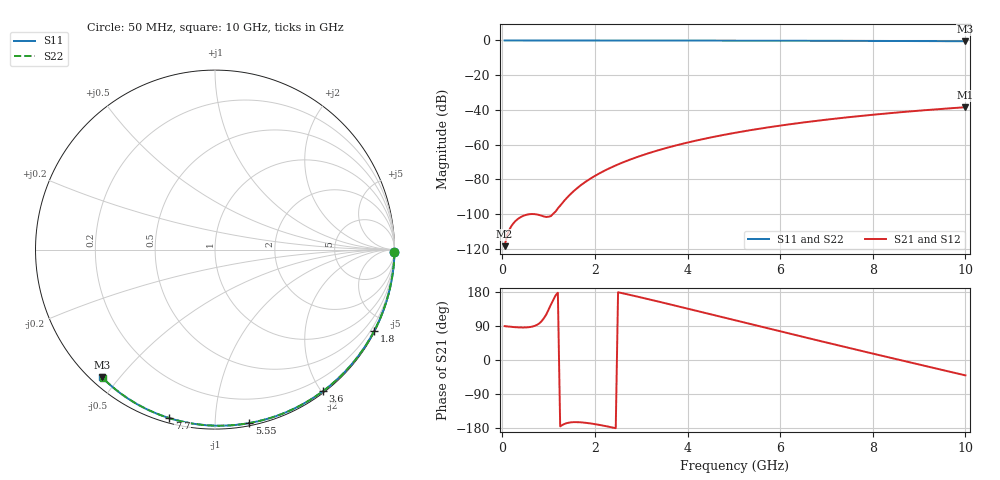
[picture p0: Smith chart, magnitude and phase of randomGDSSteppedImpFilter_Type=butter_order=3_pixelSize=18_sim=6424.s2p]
! freq	dB(S11)	phase(S11)	dB(S12)	phase(S12)
!  dB(S21)	phase(S21)	dB(S22)	phase(S22)
!S-par simulation data
#  GHz  S  DB  R 50
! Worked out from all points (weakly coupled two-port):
!   200 points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, 50 MHz to 10 GHz, reference 50 ohm
!   highest |S21| = -38.48 dB at 10 GHz (marker M1); lowest = -118.6 dB at 50 MHz (marker M2)
!   lowest |S11| = -0.4 dB at 10 GHz (marker M3), VSWR 39.01, Z = 1.54 - j22.5 ohm
!   |S11| at or under -10 dB: nowhere
!   |S22| runs from -0.4 to 0.0 dB; largest |S21 - S12| = 0
!   S11 on the Smith chart (normalised r, x): 50 MHz: open; 1.8 GHz: 0.04, -4.17; 3.6 GHz: 0.02, -2.02; 5.55 GHz: 0.02, -1.22; 7.7 GHz: 0.02, -0.76; 10 GHz: 0.03, -0.45
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0.05  -0.00 -0.8  -118.56 89.3  -118.56 89.3  -0.00 -0.8
0.9  -0.02 -13.6  -101.45 110.7  -101.45 110.7  -0.02 -13.6
1.75  -0.03 -26.2  -82.37 -165.0  -82.37 -165.0  -0.03 -26.2
1.8  -0.03 -27.0  -81.43 -165.7  -81.43 -165.7  -0.03 -26.9
1.85  -0.04 -27.7  -80.54 -166.5  -80.54 -166.5  -0.04 -27.6
1.9  -0.04 -28.4  -79.68 -167.3  -79.68 -167.3  -0.04 -28.4
2.05  -0.04 -30.6  -77.29 -170.3  -77.29 -170.3  -0.04 -30.5
2.25  -0.04 -33.6  -74.49 -174.8  -74.49 -174.8  -0.04 -33.4
2.45  -0.05 -36.5  -72.01 -179.9  -72.01 -179.9  -0.05 -36.3
2.65  -0.05 -39.3  -69.78 174.8  -69.78 174.8  -0.05 -39.2
3  -0.06 -44.3  -66.37 165.0  -66.37 165.0  -0.06 -44.2
3.4  -0.07 -50.0  -63.03 153.4  -63.03 153.4  -0.07 -49.8
3.6  -0.07 -52.7  -61.54 147.5  -61.54 147.5  -0.07 -52.6
4.3  -0.09 -62.3  -57.03 126.6  -57.03 126.6  -0.09 -62.1
5.05  -0.11 -72.3  -53.11 104.1  -53.11 104.1  -0.11 -72.1
5.55  -0.13 -78.8  -50.87 89.1  -50.87 89.1  -0.13 -78.6
6.1  -0.15 -85.8  -48.70 72.7  -48.70 72.7  -0.15 -85.5
6.7  -0.18 -93.2  -46.60 54.9  -46.60 54.9  -0.18 -92.9
7.7  -0.24 -105.2  -43.61 25.6  -43.61 25.6  -0.24 -104.9
8.35  -0.29 -112.8  -41.95 6.8  -41.95 6.8  -0.29 -112.5
9.15  -0.36 -122.0  -40.14 -16.2  -40.14 -16.2  -0.36 -121.6
10  -0.45 -131.6  -38.48 -40.5  -38.48 -40.5  -0.45 -131.2
